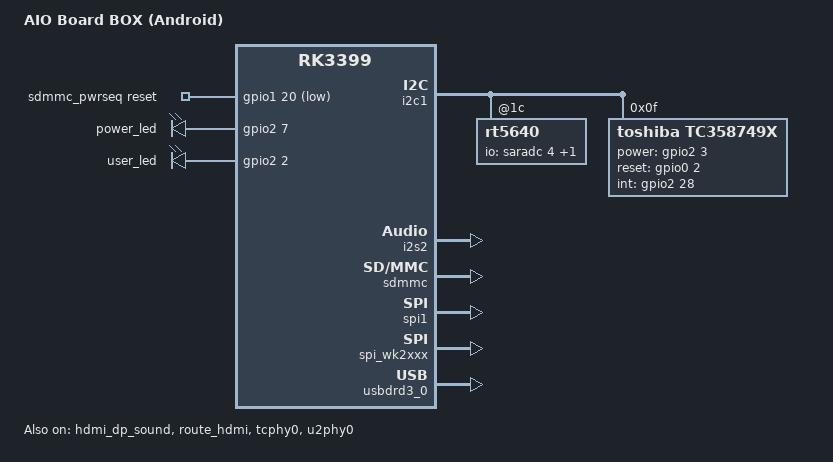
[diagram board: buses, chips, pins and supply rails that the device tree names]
/*
 * Copyright (c) 2016 Fuzhou Rockchip Electronics Co., Ltd
 *
 * This file is dual-licensed: you can use it either under the terms
 * of the GPL or the X11 license, at your option. Note that this dual
 * licensing only applies to this file, and not this project as a
 * whole.
 *
 *  a) This file is free software; you can redistribute it and/or
 *     modify it under the terms of the GNU General Public License as
 *     published by the Free Software Foundation; either version 2 of the
 *     License, or (at your option) any later version.
 *
 *     This file is distributed in the hope that it will be useful,
 *     but WITHOUT ANY WARRANTY; without even the implied warranty of
 *     MERCHANTABILITY or FITNESS FOR A PARTICULAR PURPOSE.  See the
 *     GNU General Public License for more details.
 *
 * Or, alternatively,
 *
 *  b) Permission is hereby granted, free of charge, to any person
 *     obtaining a copy of this software and associated documentation
 *     files (the "Software"), to deal in the Software without
 *     restriction, including without limitation the rights to use,
 *     copy, modify, merge, publish, distribute, sublicense, and/or
 *     sell copies of the Software, and to permit persons to whom the
 *     Software is furnished to do so, subject to the following
 *     conditions:
 *
 *     The above copyright notice and this permission notice shall be
 *     included in all copies or substantial portions of the Software.
 *
 *     THE SOFTWARE IS PROVIDED "AS IS", WITHOUT WARRANTY OF ANY KIND,
 *     EXPRESS OR IMPLIED, INCLUDING BUT NOT LIMITED TO THE WARRANTIES
 *     OF MERCHANTABILITY, FITNESS FOR A PARTICULAR PURPOSE AND
 *     NONINFRINGEMENT. IN NO EVENT SHALL THE AUTHORS OR COPYRIGHT
 *     HOLDERS BE LIABLE FOR ANY CLAIM, DAMAGES OR OTHER LIABILITY,
 *     WHETHER IN AN ACTION OF CONTRACT, TORT OR OTHERWISE, ARISING
 *     FROM, OUT OF OR IN CONNECTION WITH THE SOFTWARE OR THE USE OR
 *     OTHER DEALINGS IN THE SOFTWARE.
 */

/dts-v1/;

#include "rk3399-firefly-port.dtsi"

/ {
	model = "AIO Board BOX (Android)";
	compatible = "rockchip,rk3399-firefly", "rockchip,rk3399";

	test-power {
		status = "okay";
	};

	sdmmc_pwrseq: sdmmc-pwrseq {
           compatible = "mmc-pwrseq-simple";
           clocks = <&rk808 1>;
           clock-names = "ext_clock";
           pinctrl-names = "default";
           pinctrl-0 = <&sdcard_enable_h>;
           /*
            * On the module itself this is one of these (depending
            * on the actual card populated):
            * - SDIO_RESET_L_WL_REG_ON
            * - PDN (power down when low)
            */
           reset-gpios = <&gpio1 20 GPIO_ACTIVE_LOW>; /* GPIO4_D6 */
	};


        rt5640-sound {
        simple-audio-card,dai-link@0 {                                                                                                         
                format = "i2s";
                bitclock-master = <&rt5640_aif1>;
                frame-master = <&rt5640_aif1>;
                cpu {
                        sound-dai = <&i2s1 0>;
                };
                rt5640_aif1:codec {
                        sound-dai = <&rt5640 0>;
                };
        };
        simple-audio-card,dai-link@1 {
               format = "i2s";
               bitclock-master = <&rt5640_aif2>;
               frame-master = <&rt5640_aif2>;
                cpu {
                        sound-dai = <&i2s1 1>;
                };
                rt5640_aif2:codec {
                        sound-dai = <&rt5640 1>;
                };
        };

        simple-audio-card,dai-link@2 {     
                format = "i2s";
                bitclock-master = <&tc358749x_audio>;
                frame-master = <&tc358749x_audio>;
                cpu {
                        sound-dai = <&i2s1 0>;
                };
                tc358749x_audio:codec {
                        sound-dai = <&tc358749x 0>;
                };
        };

	};

};

&hdmi_dp_sound {
	status = "okay";
};

&route_hdmi {
	status = "okay";
	logo,mode = "center";
};

&cdn_dp {
        status = "disabled";
        extcon = <&fusb0>;
        phys = <&tcphy0_dp>;
};

&hdmi_in_vopl {
	status = "disabled";
};

&dp_in_vopb {
        status = "disabled";
};

&i2c1 {
	status = "okay";
        rt5640: rt5640@1c {
                #sound-dai-cells = <1>;
        };

	tc358749x: tc358749x@0f {
		compatible = "toshiba,tc358749x";
		#sound-dai-cells = <0>;
		reg = <0x0f>;
		power-gpios = <&gpio2 3 GPIO_ACTIVE_HIGH>; 
		reset-gpios = <&gpio0 2 GPIO_ACTIVE_HIGH>;
		int-gpios = <&gpio2 28 GPIO_ACTIVE_HIGH>;
		pinctrl-names = "default";
		pinctrl-0 = <&hdmiin_gpios>;
		status = "okay";
	};

};

&i2s2 {
	status = "okay";
};

&sdmmc {
    status = "okay";
	sd-uhs-sdr104;
	mmc-pwrseq = <&sdmmc_pwrseq>;
};

&rt5640 {
    aux-det-adc-value = <1000>;
    io-channels = <&saradc 4>,<&saradc 2>;
    io-channel-names = "hp-det","aux-det";
};

&power_led {
    gpios = <&gpio2 7 GPIO_ACTIVE_HIGH>;
};

&user_led {
    gpios = <&gpio2 2 GPIO_ACTIVE_HIGH>;
};

/* spi to uart */
&uart4 {
    status = "disabled";
};

&vdd_cpu_b {
    /delete-property/ vsel-gpios;  //wk2xxx reset pin
};

&spi1 {
    status = "okay";
};

&spi_wk2xxx {
    status = "okay";
};

&vcc3v3_pcie {
    gpio = <&gpio0 13 GPIO_ACTIVE_HIGH>;  // change with power led
};

&vcc3v3_3g {
    gpio = <&gpio2 6 GPIO_ACTIVE_HIGH>;
};

/* Otg */
&fusb0 {
    status = "disabled";
};

&tcphy0 {
    /delete-property/ extcon;
    status = "okay";
};
 
&u2phy0 {
    status = "okay";
    /delete-property/ extcon;   
                
    u2phy0_otg: otg-port {
        rockchip,vbus-always-on;
        vbus-5v-gpios = <&gpio1 3 GPIO_ACTIVE_HIGH>;
        status = "okay";
    };
};

&usbdrd3_0 {
    status = "okay";
    /delete-property/ extcon;
};

&sdio0 {
	clock-frequency = <100000000>;
	clock-freq-min-max = <200000 100000000>;
};

&pinctrl {
	sdmmc-pwrseq {
		sdcard_enable_h: sdcard-enable-h {
			rockchip,pins =
			<1 20 RK_FUNC_GPIO &pcfg_pull_none>;
		};
	};

    pcie {
        pcie_drv: pcie-drv {
            rockchip,pins =
            <0 13 RK_FUNC_GPIO &pcfg_pull_none>;
        };
        
        pcie_3g_drv: pcie-3g-drv {
            rockchip,pins = 
            <2 6 RK_FUNC_GPIO &pcfg_pull_up>;
        };
    };

	hdmiin {
		hdmiin_gpios: hdmiin_gpios {
			rockchip,pins =
				<2 3 RK_FUNC_GPIO &pcfg_pull_none>,
				<0 2 RK_FUNC_GPIO &pcfg_pull_none>,
				<2 28 RK_FUNC_GPIO &pcfg_pull_none>;
		};
	};
    leds {
        led_power: led-power {
            rockchip,pins = <2 7 RK_FUNC_GPIO &pcfg_pull_none>;
        };

        led_user: led-user {
            rockchip,pins = <2 2 RK_FUNC_GPIO &pcfg_pull_none>;
        };
    };

};
